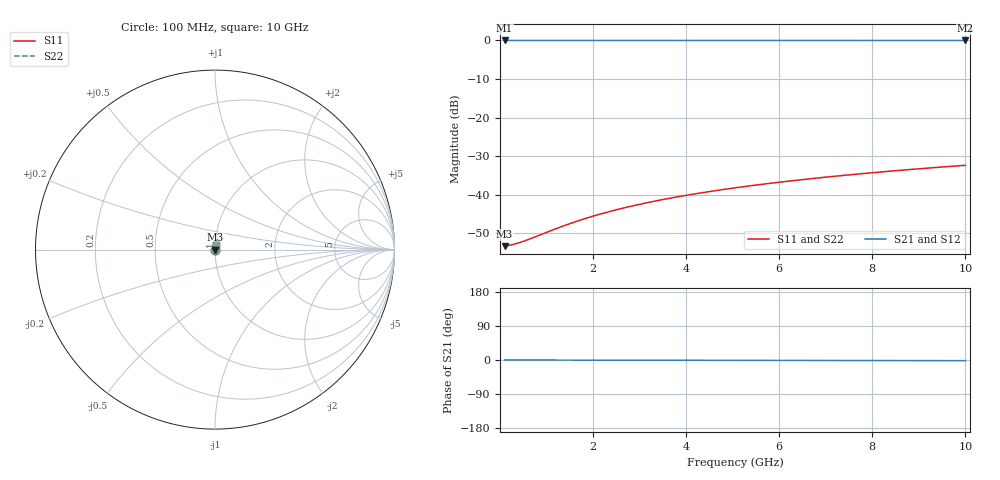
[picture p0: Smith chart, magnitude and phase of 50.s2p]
# Hz S RI R 50.00
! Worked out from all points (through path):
!   100 points, 100 MHz to 10 GHz, reference 50 ohm
!   highest |S21| = -0.02 dB at 100 MHz (marker M1); lowest = 0.0 dB at 10 GHz (marker M2)
!   lowest |S11| = -53.3 dB at 100 MHz (marker M3), VSWR 1.00, Z = 50.2 + j0.0239 ohm
!   |S11| at or under -10 dB: start of sweep to end of sweep
!   |S22| runs from -53.3 to -32.4 dB; largest |S21 - S12| = 0
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1e8  0.00215 0.000238  0.9979 -0.000316  0.9979 -0.000316  0.00215 0.000238
2e8  0.00216 0.000477  0.9978 -0.000632  0.9978 -0.000632  0.00216 0.000477
3e8  0.00217 0.000715  0.9978 -0.000948  0.9978 -0.000948  0.00217 0.000715
5e8  0.00219 0.00119  0.9978 -0.00158  0.9978 -0.00158  0.00219 0.00119
7e8  0.0022 0.00167  0.9978 -0.00221  0.9978 -0.00221  0.0022 0.00167
1.3e9  0.00224 0.0031  0.9978 -0.00411  0.9978 -0.00411  0.00224 0.0031
1.6e9  0.00225 0.00381  0.9977 -0.00506  0.9977 -0.00506  0.00225 0.00381
1.8e9  0.00226 0.00429  0.9977 -0.00569  0.9977 -0.00569  0.00226 0.00429
2.1e9  0.00228 0.00501  0.9977 -0.00664  0.9977 -0.00664  0.00228 0.00501
2.5e9  0.0023 0.00596  0.9977 -0.0079  0.9977 -0.0079  0.0023 0.00596
2.9e9  0.00233 0.00691  0.9977 -0.00917  0.9977 -0.00917  0.00233 0.00691
3.4e9  0.00236 0.00811  0.9976 -0.0107  0.9976 -0.0107  0.00236 0.00811
3.8e9  0.00239 0.00906  0.9976 -0.012  0.9976 -0.012  0.00239 0.00906
4.2e9  0.00242 0.01  0.9976 -0.0133  0.9976 -0.0133  0.00242 0.01
4.6e9  0.00246 0.011  0.9975 -0.0145  0.9975 -0.0145  0.00246 0.011
5.1e9  0.0025 0.0122  0.9975 -0.0161  0.9975 -0.0161  0.0025 0.0122
5.9e9  0.00258 0.0141  0.9974 -0.0187  0.9974 -0.0187  0.00258 0.0141
6.7e9  0.00267 0.016  0.9973 -0.0212  0.9973 -0.0212  0.00267 0.016
7.5e9  0.00276 0.0179  0.9972 -0.0237  0.9972 -0.0237  0.00276 0.0179
8.4e9  0.00289 0.0201  0.9971 -0.0266  0.9971 -0.0266  0.00289 0.0201
9.2e9  0.003 0.022  0.997 -0.0291  0.997 -0.0291  0.003 0.022
1e10  0.00313 0.0239  0.9968 -0.0317  0.9968 -0.0317  0.00313 0.0239
